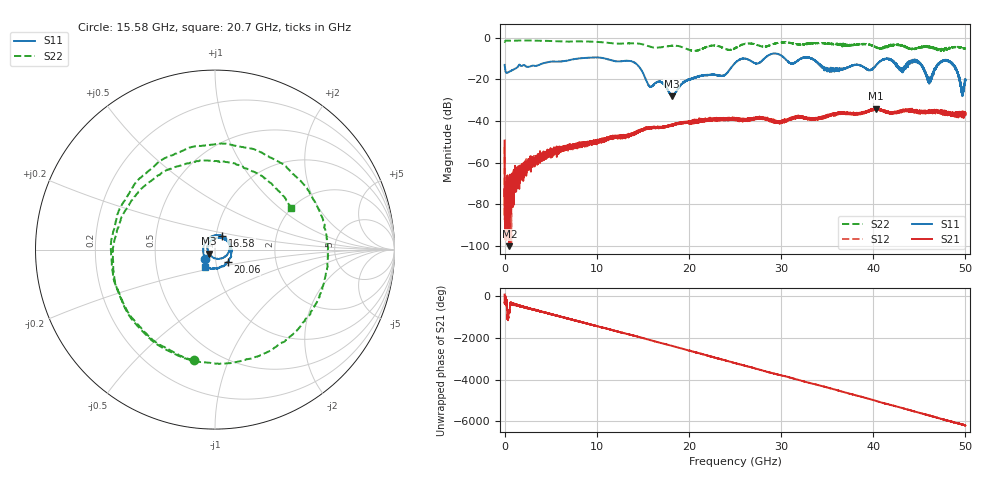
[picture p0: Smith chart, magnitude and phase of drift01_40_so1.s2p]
!Created with skrf (http://scikit-rf.org).
# Hz S RI R 50.0
!freq ReS11 ImS11 ReS21 ImS21 ReS12 ImS12 ReS22 ImS22
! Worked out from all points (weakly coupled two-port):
!   10001 points, 300 kHz to 50 GHz, reference 50 ohm
!   highest |S21| = -34.10 dB at 40.33 GHz (marker M1); lowest = -100.2 dB at 525.3 MHz (marker M2)
!   lowest |S11| = -28.2 dB at 18.15 GHz (marker M3), VSWR 1.08, Z = 46.8 - j2.06 ohm
!   |S11| at or under -10 dB: start of sweep to 8.055 GHz; 10.89 GHz to 25.98 GHz (15.09 GHz wide, 81.8 % of centre); 33.32 GHz to end of sweep (the widest 3 of 16)
!   |S22| runs from -6.6 to -1.4 dB; largest |S21 - S12| = 0.0046
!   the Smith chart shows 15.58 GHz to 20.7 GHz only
!   S11 on the Smith chart (normalised r, x): 15.58 GHz: 0.89, -0.09; 16.58 GHz: 1.07, +0.16; 20.06 GHz: 1.14, -0.16; 20.7 GHz: 0.88, -0.18
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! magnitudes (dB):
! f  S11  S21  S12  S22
! 300 kHz  -13.1  -49.4  -52.3  -2.1
! 255.3 MHz  -16.9  -80.8  -76.1  -1.4
! 525.3 MHz  -16.4  -100.2  -80.7  -1.4
! 2.655 GHz  -14.0  -61.1  -60.4  -1.4
! 8.335 GHz  -9.9  -51.4  -51.2  -1.8
! 13.86 GHz  -11.5  -46.2  -46.3  -2.7
! 15.58 GHz  -22.5  -43.2  -43.1  -4.0
! 16.58 GHz  -21.3  -43.3  -43.4  -4.8
! 16.67 GHz  -21.1  -43.4  -43.2  -4.8
! 18.15 GHz  -28.2  -42.3  -42.2  -3.9
! 20.06 GHz  -20.0  -40.2  -40.2  -6.0
! 20.7 GHz  -19.0  -40.6  -40.2  -6.4
! 25 GHz  -12.2  -39.4  -39.3  -5.1
! 33.34 GHz  -10.1  -39.6  -39.3  -2.6
! 35.23 GHz  -15.2  -37.2  -37.4  -2.9
! 40.33 GHz  -13.3  -34.1  -34.4  -4.7
! 41.67 GHz  -10.4  -36.3  -36.2  -4.4
! 44.79 GHz  -11.2  -35.5  -35.3  -5.0
! 46.12 GHz  -20.4  -35.3  -35.6  -4.4
! 48.04 GHz  -11.3  -37.1  -36.2  -5.4
! 49.64 GHz  -25.7  -36.5  -36.2  -4.8
! 50 GHz  -20.3  -37.1  -36.8  -5.4
